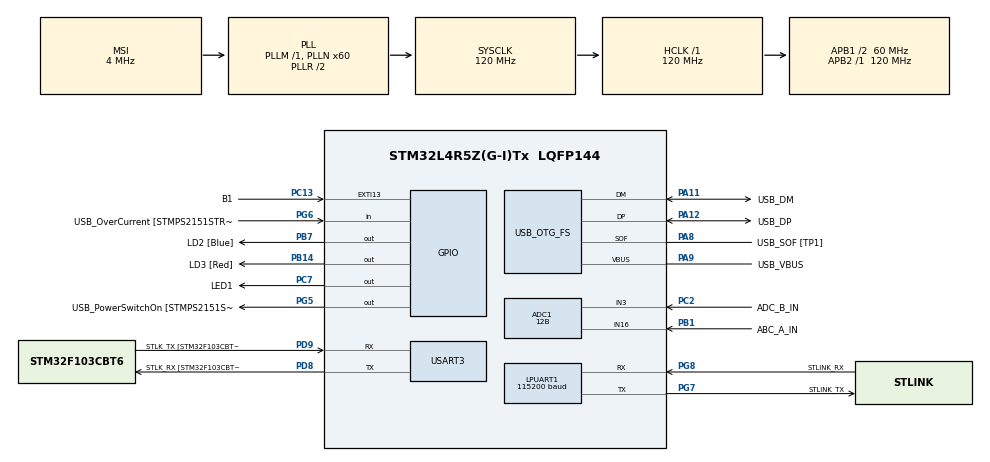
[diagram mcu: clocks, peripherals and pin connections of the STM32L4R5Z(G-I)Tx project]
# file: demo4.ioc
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ADC1.Channel-12\#ChannelRegularConversion=ADC_CHANNEL_3
ADC1.Channel-13\#ChannelRegularConversion=ADC_CHANNEL_16
ADC1.ClockPrescaler=ADC_CLOCK_ASYNC_DIV4
ADC1.ContinuousConvMode=ENABLE
ADC1.DMAContinuousRequests=DISABLE
ADC1.DataAlign=ADC_DATAALIGN_RIGHT
ADC1.DiscontinuousConvMode=DISABLE
ADC1.EOCSelection=ADC_EOC_SINGLE_CONV
ADC1.EnableAnalogWatchDog1=false
ADC1.EnableAnalogWatchDog2=false
ADC1.EnableAnalogWatchDog3=false
ADC1.EnableInjectedConversion=DISABLE
ADC1.EnableRegularConversion=ENABLE
ADC1.ExternalTrigConv=ADC_SOFTWARE_START
ADC1.ExternalTrigConvEdge=ADC_EXTERNALTRIGCONVEDGE_NONE
ADC1.LowPowerAutoWait=DISABLE
ADC1.NbrOfConversion=2
ADC1.NbrOfConversionFlag=1
ADC1.OffsetNumber-12\#ChannelRegularConversion=ADC_OFFSET_NONE
ADC1.OffsetNumber-13\#ChannelRegularConversion=ADC_OFFSET_NONE
ADC1.Overrun=ADC_OVR_DATA_PRESERVED
ADC1.OversamplingMode=DISABLE
ADC1.Rank-12\#ChannelRegularConversion=1
ADC1.Rank-13\#ChannelRegularConversion=2
ADC1.Resolution=ADC_RESOLUTION_12B
ADC1.SamplingTime-12\#ChannelRegularConversion=ADC_SAMPLETIME_2CYCLES_5
ADC1.SamplingTime-13\#ChannelRegularConversion=ADC_SAMPLETIME_2CYCLES_5
ADC1.ScanConvMode=ADC_SCAN_ENABLE
ADC1.master=1
LPUART1.BaudRate=115200
LPUART1.WordLength=UART_WORDLENGTH_8B
Mcu.Family=STM32L4
Mcu.Name=STM32L4R5Z(G-I)Tx
Mcu.Package=LQFP144
NVIC.ADC1_IRQn=true\:5\:0\:true\:false\:true\:true
NVIC.EXTI15_10_IRQn=true\:6\:0\:true\:false\:true\:true
NVIC.PriorityGroup=NVIC_PRIORITYGROUP_4
PA10.GPIO_Label=USB_ID
PA10.Signal=USB_OTG_FS_ID
PA11.GPIO_Label=USB_DM
PA11.Mode=Device_Only
PA11.Signal=USB_OTG_FS_DM
PA12.GPIO_Label=USB_DP
PA12.Mode=Device_Only
PA12.Signal=USB_OTG_FS_DP
PA13\ (JTMS/SWDIO).GPIO_Label=TMS
PA13\ (JTMS/SWDIO).Mode=Serial_Wire
PA13\ (JTMS/SWDIO).Signal=SYS_JTMS-SWDIO
PA14\ (JTCK/SWCLK).GPIO_Label=TCK
PA14\ (JTCK/SWCLK).Mode=Serial_Wire
PA14\ (JTCK/SWCLK).Signal=SYS_JTCK-SWCLK
PA8.GPIO_Label=USB_SOF [TP1]
PA8.Mode=Activate_SOF_FS
PA8.Signal=USB_OTG_FS_SOF
PA9.GPIO_Label=USB_VBUS
PA9.Mode=Activate_VBUS
PA9.Signal=USB_OTG_FS_VBUS
PB1.GPIO_Label=ABC_A_IN
PB1.Signal=ADCx_IN16
PB14.GPIO_Label=LD3 [Red]
PB14.Signal=GPIO_Output
PB3\ (JTDO/TRACESWO).GPIO_Label=SWO
PB3\ (JTDO/TRACESWO).Signal=SYS_JTDO-SWO
PB7.GPIO_Label=LD2 [Blue]
PB7.Signal=GPIO_Output
PC13.GPIO_Label=B1
PC13.Signal=GPXTI13
PC14-OSC32_IN\ (PC14).Mode=LSE-External-Oscillator
PC14-OSC32_IN\ (PC14).Signal=RCC_OSC32_IN
PC15-OSC32_OUT\ (PC15).Mode=LSE-External-Oscillator
PC15-OSC32_OUT\ (PC15).Signal=RCC_OSC32_OUT
PC2.GPIO_Label=ADC_B_IN
PC2.Signal=ADCx_IN3
PC7.GPIO_Label=LED1
PC7.Signal=GPIO_Output
PD8.GPIO_Label=STLK_RX [STM32F103CBT6_PA3]
PD8.Mode=Asynchronous
PD8.Signal=USART3_TX
PD9.GPIO_Label=STLK_TX [STM32F103CBT6_PA2]
PD9.Mode=Asynchronous
PD9.Signal=USART3_RX
PG5.GPIO_Label=USB_PowerSwitchOn [STMPS2151STR_EN]
PG5.Signal=GPIO_Output
PG6.GPIO_Label=USB_OverCurrent [STMPS2151STR_FAULT]
PG6.Signal=GPIO_Input
PG7.GPIO_Label=STLINK_TX
PG7.Mode=Asynchronous
PG7.Signal=LPUART1_TX
PG8.GPIO_Label=STLINK_RX
PG8.Mode=Asynchronous
PG8.Signal=LPUART1_RX
PH0-OSC_IN\ (PH0).Mode=HSE-External-Clock-Source
PH0-OSC_IN\ (PH0).Signal=RCC_OSC_IN
PH1-OSC_OUT\ (PH1).Signal=RCC_OSC_OUT
ProjectManager.HeapSize=0x200
ProjectManager.StackSize=0x400
ProjectManager.TargetToolchain=TrueSTUDIO
RCC.48MHZClocksFreq_Value=24000000
RCC.ADCFreq_Value=48000000
RCC.AHBFreq_Value=120000000
RCC.APB1CLKDivider=RCC_HCLK_DIV2
RCC.APB1Freq_Value=60000000
RCC.APB1TimFreq_Value=120000000
RCC.APB2Freq_Value=120000000
RCC.APB2TimFreq_Value=120000000
RCC.CortexFreq_Value=120000000
RCC.HCLKFreq_Value=120000000
RCC.HSE_VALUE=8000000
RCC.HSI48_VALUE=48000000
RCC.HSI_VALUE=16000000
RCC.MSI_VALUE=4000000
RCC.PLLMUL=RCC_PLL_MUL9
RCC.PLLN=60
RCC.PLLSAI1N=24
RCC.PRESCALERUSB=RCC_USBCLKSOURCE_PLL_DIV1_5
RCC.SYSCLKFreq_VALUE=120000000
RCC.SYSCLKSource=RCC_SYSCLKSOURCE_PLLCLK
RCC.SYSCLKSourceVirtual=RCC_SYSCLKSOURCE_PLLCLK
RCC.USBFreq_Value=48000000
RCC.VCOOutputFreq_Value=240000000
SH.ADCx_IN16.0=ADC1_IN16,IN16-Single-Ended
SH.ADCx_IN3.0=ADC1_IN3,IN3-Single-Ended
USART3.VirtualMode-Asynchronous=VM_ASYNC
USB_OTG_FS.VirtualMode=Device_Only
board=NUCLEO-L4R5ZI

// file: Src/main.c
/**
  ******************************************************************************
  * @file           : main.c
  * @brief          : Main program body
  ******************************************************************************
  ** This notice applies to any and all portions of this file
  * that are not between comment pairs USER CODE BEGIN and
  * USER CODE END. Other portions of this file, whether
  * inserted by the user or by software development tools
  * are owned by their respective copyright owners.
  *
  * COPYRIGHT(c) 2018 STMicroelectronics
  *
  * Redistribution and use in source and binary forms, with or without modification,
  * are permitted provided that the following conditions are met:
  *   1. Redistributions of source code must retain the above copyright notice,
  *      this list of conditions and the following disclaimer.
  *   2. Redistributions in binary form must reproduce the above copyright notice,
  *      this list of conditions and the following disclaimer in the documentation
  *      and/or other materials provided with the distribution.
  *   3. Neither the name of STMicroelectronics nor the names of its contributors
  *      may be used to endorse or promote products derived from this software
  *      without specific prior written permission.
  *
  * THIS SOFTWARE IS PROVIDED BY THE COPYRIGHT HOLDERS AND CONTRIBUTORS "AS IS"
  * AND ANY EXPRESS OR IMPLIED WARRANTIES, INCLUDING, BUT NOT LIMITED TO, THE
  * IMPLIED WARRANTIES OF MERCHANTABILITY AND FITNESS FOR A PARTICULAR PURPOSE ARE
  * DISCLAIMED. IN NO EVENT SHALL THE COPYRIGHT HOLDER OR CONTRIBUTORS BE LIABLE
  * FOR ANY DIRECT, INDIRECT, INCIDENTAL, SPECIAL, EXEMPLARY, OR CONSEQUENTIAL
  * DAMAGES (INCLUDING, BUT NOT LIMITED TO, PROCUREMENT OF SUBSTITUTE GOODS OR
  * SERVICES; LOSS OF USE, DATA, OR PROFITS; OR BUSINESS INTERRUPTION) HOWEVER
  * CAUSED AND ON ANY THEORY OF LIABILITY, WHETHER IN CONTRACT, STRICT LIABILITY,
  * OR TORT (INCLUDING NEGLIGENCE OR OTHERWISE) ARISING IN ANY WAY OUT OF THE USE
  * OF THIS SOFTWARE, EVEN IF ADVISED OF THE POSSIBILITY OF SUCH DAMAGE.
  *
  ******************************************************************************
  */
#include "main.h"
#include "stm32l4xx_hal.h"

ADC_HandleTypeDef hadc1;

UART_HandleTypeDef hlpuart1;
UART_HandleTypeDef huart3;

PCD_HandleTypeDef hpcd_USB_OTG_FS;

/* USER CODE BEGIN PV */
/* Private variables ---------------------------------------------------------*/

/* USER CODE END PV */

void SystemClock_Config(void);
static void MX_GPIO_Init(void);
static void MX_LPUART1_UART_Init(void);
static void MX_USART3_UART_Init(void);
static void MX_USB_OTG_FS_PCD_Init(void);
static void MX_ADC1_Init(void);

/* USER CODE BEGIN PFP */
/* Private function prototypes -----------------------------------------------*/
static void logInit(void);
static void logProcess(void);
/* USER CODE END PFP */

/* USER CODE BEGIN 0 */
uint8_t MODE_SELECTION = 0;
/* USER CODE END 0 */

int main(void)
{

  /* MCU Configuration----------------------------------------------------------*/

  /* Reset of all peripherals, Initializes the Flash interface and the Systick. */
  HAL_Init();

  /* Configure the system clock */
  SystemClock_Config();

  /* Initialize all configured peripherals */
  MX_GPIO_Init();
  MX_LPUART1_UART_Init();
  MX_USART3_UART_Init();
  MX_USB_OTG_FS_PCD_Init();
  MX_ADC1_Init();
  /* USER CODE BEGIN 2 */
  logInit();
  /* USER CODE END 2 */

  /* Infinite loop */
  while (1)
  {

  /* USER CODE BEGIN 3 */
#if 1
	  if (MODE_SELECTION == 0) {
		  logProcess();
	  }
	  else
	  {

	  }
#else
      //Send message to UART port
      printf("\n\rHelloWorld %d", count++);
	  if (MODE_SELECTION == 0) {
		  /* Toggle LEDs -Use the HAL functions from stm32l4xx_hal_gpio.c file */
		  HAL_GPIO_TogglePin(GPIOC, GPIO_PIN_7); //LD1 (green) –PC7
		  HAL_Delay(100); //100ms
	  } else if (MODE_SELECTION == 1) {
		  /* Turn OFF the LEDs -Use the HAL functions from stm32l4xx_hal_gpio.c file */
		  HAL_GPIO_WritePin(GPIOC, GPIO_PIN_7, GPIO_PIN_RESET); //Turn off LD1 (green)
		  HAL_Delay(100); //100ms
	  } else if (MODE_SELECTION == 2) {
		  /* Turn ON the LED -Use the HAL functions from stm32l4xx_hal_gpio.c file */
		  HAL_GPIO_WritePin(GPIOC, GPIO_PIN_7, GPIO_PIN_SET);//LD1 (green) –PC7
		  HAL_Delay(1000);//1secs
	  }
#endif
  }
  /* USER CODE END 3 */

}

void SystemClock_Config(void)
{

  RCC_OscInitTypeDef RCC_OscInitStruct;
  RCC_ClkInitTypeDef RCC_ClkInitStruct;
  RCC_PeriphCLKInitTypeDef PeriphClkInit;

    /**Configure the main internal regulator output voltage
    */
  if (HAL_PWREx_ControlVoltageScaling(PWR_REGULATOR_VOLTAGE_SCALE1_BOOST) != HAL_OK)
  {
    _Error_Handler(__FILE__, __LINE__);
  }

    /**Configure LSE Drive Capability
    */
  HAL_PWR_EnableBkUpAccess();

  __HAL_RCC_LSEDRIVE_CONFIG(RCC_LSEDRIVE_LOW);

    /**Initializes the CPU, AHB and APB busses clocks
    */
  RCC_OscInitStruct.OscillatorType = RCC_OSCILLATORTYPE_LSE|RCC_OSCILLATORTYPE_MSI;
  RCC_OscInitStruct.LSEState = RCC_LSE_ON;
  RCC_OscInitStruct.MSIState = RCC_MSI_ON;
  RCC_OscInitStruct.MSICalibrationValue = 0;
  RCC_OscInitStruct.MSIClockRange = RCC_MSIRANGE_6;
  RCC_OscInitStruct.PLL.PLLState = RCC_PLL_ON;
  RCC_OscInitStruct.PLL.PLLSource = RCC_PLLSOURCE_MSI;
  RCC_OscInitStruct.PLL.PLLM = 1;
  RCC_OscInitStruct.PLL.PLLN = 60;
  RCC_OscInitStruct.PLL.PLLP = RCC_PLLP_DIV2;
  RCC_OscInitStruct.PLL.PLLQ = RCC_PLLQ_DIV2;
  RCC_OscInitStruct.PLL.PLLR = RCC_PLLR_DIV2;
  if (HAL_RCC_OscConfig(&RCC_OscInitStruct) != HAL_OK)
  {
    _Error_Handler(__FILE__, __LINE__);
  }

    /**Initializes the CPU, AHB and APB busses clocks
    */
  RCC_ClkInitStruct.ClockType = RCC_CLOCKTYPE_HCLK|RCC_CLOCKTYPE_SYSCLK
                              |RCC_CLOCKTYPE_PCLK1|RCC_CLOCKTYPE_PCLK2;
  RCC_ClkInitStruct.SYSCLKSource = RCC_SYSCLKSOURCE_PLLCLK;
  RCC_ClkInitStruct.AHBCLKDivider = RCC_SYSCLK_DIV1;
  RCC_ClkInitStruct.APB1CLKDivider = RCC_HCLK_DIV2;
  RCC_ClkInitStruct.APB2CLKDivider = RCC_HCLK_DIV1;

  if (HAL_RCC_ClockConfig(&RCC_ClkInitStruct, FLASH_LATENCY_5) != HAL_OK)
  {
    _Error_Handler(__FILE__, __LINE__);
  }

  PeriphClkInit.PeriphClockSelection = RCC_PERIPHCLK_USART3|RCC_PERIPHCLK_LPUART1
                              |RCC_PERIPHCLK_USB|RCC_PERIPHCLK_ADC;
  PeriphClkInit.Usart3ClockSelection = RCC_USART3CLKSOURCE_PCLK1;
  PeriphClkInit.Lpuart1ClockSelection = RCC_LPUART1CLKSOURCE_PCLK1;
  PeriphClkInit.AdcClockSelection = RCC_ADCCLKSOURCE_PLLSAI1;
  PeriphClkInit.UsbClockSelection = RCC_USBCLKSOURCE_PLLSAI1;
  PeriphClkInit.PLLSAI1.PLLSAI1Source = RCC_PLLSOURCE_MSI;
  PeriphClkInit.PLLSAI1.PLLSAI1M = 1;
  PeriphClkInit.PLLSAI1.PLLSAI1N = 24;
  PeriphClkInit.PLLSAI1.PLLSAI1P = RCC_PLLP_DIV2;
  PeriphClkInit.PLLSAI1.PLLSAI1Q = RCC_PLLQ_DIV2;
  PeriphClkInit.PLLSAI1.PLLSAI1R = RCC_PLLR_DIV2;
  PeriphClkInit.PLLSAI1.PLLSAI1ClockOut = RCC_PLLSAI1_48M2CLK|RCC_PLLSAI1_ADC1CLK;
  if (HAL_RCCEx_PeriphCLKConfig(&PeriphClkInit) != HAL_OK)
  {
    _Error_Handler(__FILE__, __LINE__);
  }

    /**Configure the Systick interrupt time
    */
  HAL_SYSTICK_Config(HAL_RCC_GetHCLKFreq()/1000);

    /**Configure the Systick
    */
  HAL_SYSTICK_CLKSourceConfig(SYSTICK_CLKSOURCE_HCLK);

    /**Enable MSI Auto calibration
    */
  HAL_RCCEx_EnableMSIPLLMode();

  /* SysTick_IRQn interrupt configuration */
  HAL_NVIC_SetPriority(SysTick_IRQn, 0, 0);
}

/* ADC1 init function */
static void MX_ADC1_Init(void)
{

  ADC_ChannelConfTypeDef sConfig;

    /**Common config
    */
  hadc1.Instance = ADC1;
  hadc1.Init.ClockPrescaler = ADC_CLOCK_ASYNC_DIV4;
  hadc1.Init.Resolution = ADC_RESOLUTION_12B;
  hadc1.Init.DataAlign = ADC_DATAALIGN_RIGHT;
  hadc1.Init.ScanConvMode = ADC_SCAN_ENABLE;
  hadc1.Init.EOCSelection = ADC_EOC_SINGLE_CONV;
  hadc1.Init.LowPowerAutoWait = DISABLE;
  hadc1.Init.ContinuousConvMode = ENABLE;
  hadc1.Init.NbrOfConversion = 2;
  hadc1.Init.DiscontinuousConvMode = DISABLE;
  hadc1.Init.NbrOfDiscConversion = 1;
  hadc1.Init.ExternalTrigConv = ADC_SOFTWARE_START;
  hadc1.Init.ExternalTrigConvEdge = ADC_EXTERNALTRIGCONVEDGE_NONE;
  hadc1.Init.DMAContinuousRequests = DISABLE;
  hadc1.Init.Overrun = ADC_OVR_DATA_PRESERVED;
  hadc1.Init.OversamplingMode = DISABLE;
  if (HAL_ADC_Init(&hadc1) != HAL_OK)
  {
    _Error_Handler(__FILE__, __LINE__);
  }

    /**Configure Regular Channel
    */
  sConfig.Channel = ADC_CHANNEL_3;
  sConfig.Rank = ADC_REGULAR_RANK_1;
  sConfig.SamplingTime = ADC_SAMPLETIME_2CYCLES_5;
  sConfig.SingleDiff = ADC_SINGLE_ENDED;
  sConfig.OffsetNumber = ADC_OFFSET_NONE;
  sConfig.Offset = 0;
  if (HAL_ADC_ConfigChannel(&hadc1, &sConfig) != HAL_OK)
  {
    _Error_Handler(__FILE__, __LINE__);
  }

    /**Configure Regular Channel
    */
  sConfig.Channel = ADC_CHANNEL_16;
  sConfig.Rank = ADC_REGULAR_RANK_2;
  if (HAL_ADC_ConfigChannel(&hadc1, &sConfig) != HAL_OK)
  {
    _Error_Handler(__FILE__, __LINE__);
  }

}

/* LPUART1 init function */
static void MX_LPUART1_UART_Init(void)
{

  hlpuart1.Instance = LPUART1;
  hlpuart1.Init.BaudRate = 115200;
  hlpuart1.Init.WordLength = UART_WORDLENGTH_8B;
  hlpuart1.Init.StopBits = UART_STOPBITS_1;
  hlpuart1.Init.Parity = UART_PARITY_NONE;
  hlpuart1.Init.Mode = UART_MODE_TX_RX;
  hlpuart1.Init.HwFlowCtl = UART_HWCONTROL_NONE;
  hlpuart1.Init.OneBitSampling = UART_ONE_BIT_SAMPLE_DISABLE;
  hlpuart1.Init.ClockPrescaler = UART_PRESCALER_DIV1;
  hlpuart1.AdvancedInit.AdvFeatureInit = UART_ADVFEATURE_NO_INIT;
  hlpuart1.FifoMode = UART_FIFOMODE_DISABLE;
  if (HAL_UART_Init(&hlpuart1) != HAL_OK)
  {
    _Error_Handler(__FILE__, __LINE__);
  }

  if (HAL_UARTEx_SetTxFifoThreshold(&hlpuart1, UART_TXFIFO_THRESHOLD_1_8) != HAL_OK)
  {
    _Error_Handler(__FILE__, __LINE__);
  }

  if (HAL_UARTEx_SetRxFifoThreshold(&hlpuart1, UART_RXFIFO_THRESHOLD_1_8) != HAL_OK)
  {
    _Error_Handler(__FILE__, __LINE__);
  }

}

/* USART3 init function */
static void MX_USART3_UART_Init(void)
{

  huart3.Instance = USART3;
  huart3.Init.BaudRate = 115200;
  huart3.Init.WordLength = UART_WORDLENGTH_7B;
  huart3.Init.StopBits = UART_STOPBITS_1;
  huart3.Init.Parity = UART_PARITY_NONE;
  huart3.Init.Mode = UART_MODE_TX_RX;
  huart3.Init.HwFlowCtl = UART_HWCONTROL_NONE;
  huart3.Init.OverSampling = UART_OVERSAMPLING_16;
  huart3.Init.OneBitSampling = UART_ONE_BIT_SAMPLE_DISABLE;
  huart3.Init.ClockPrescaler = UART_PRESCALER_DIV1;
  huart3.AdvancedInit.AdvFeatureInit = UART_ADVFEATURE_NO_INIT;
  if (HAL_UART_Init(&huart3) != HAL_OK)
  {
    _Error_Handler(__FILE__, __LINE__);
  }

  if (HAL_UARTEx_SetTxFifoThreshold(&huart3, UART_TXFIFO_THRESHOLD_1_8) != HAL_OK)
  {
    _Error_Handler(__FILE__, __LINE__);
  }

  if (HAL_UARTEx_SetRxFifoThreshold(&huart3, UART_RXFIFO_THRESHOLD_1_8) != HAL_OK)
  {
    _Error_Handler(__FILE__, __LINE__);
  }

  if (HAL_UARTEx_DisableFifoMode(&huart3) != HAL_OK)
  {
    _Error_Handler(__FILE__, __LINE__);
  }

}

/* USB_OTG_FS init function */
static void MX_USB_OTG_FS_PCD_Init(void)
{

  hpcd_USB_OTG_FS.Instance = USB_OTG_FS;
  hpcd_USB_OTG_FS.Init.dev_endpoints = 6;
  hpcd_USB_OTG_FS.Init.ep0_mps = DEP0CTL_MPS_64;
  hpcd_USB_OTG_FS.Init.phy_itface = PCD_PHY_EMBEDDED;
  hpcd_USB_OTG_FS.Init.Sof_enable = ENABLE;
  hpcd_USB_OTG_FS.Init.low_power_enable = DISABLE;
  hpcd_USB_OTG_FS.Init.lpm_enable = DISABLE;
  hpcd_USB_OTG_FS.Init.battery_charging_enable = ENABLE;
  hpcd_USB_OTG_FS.Init.use_dedicated_ep1 = DISABLE;
  hpcd_USB_OTG_FS.Init.vbus_sensing_enable = ENABLE;
  if (HAL_PCD_Init(&hpcd_USB_OTG_FS) != HAL_OK)
  {
    _Error_Handler(__FILE__, __LINE__);
  }

}

/** Configure pins as
        * Analog
        * Input
        * Output
        * EVENT_OUT
        * EXTI
*/
static void MX_GPIO_Init(void)
{

  GPIO_InitTypeDef GPIO_InitStruct;

  /* GPIO Ports Clock Enable */
  __HAL_RCC_GPIOC_CLK_ENABLE();
  __HAL_RCC_GPIOH_CLK_ENABLE();
  __HAL_RCC_GPIOB_CLK_ENABLE();
  __HAL_RCC_GPIOD_CLK_ENABLE();
  __HAL_RCC_GPIOG_CLK_ENABLE();
  HAL_PWREx_EnableVddIO2();
  __HAL_RCC_GPIOA_CLK_ENABLE();

  /*Configure GPIO pin Output Level */
  HAL_GPIO_WritePin(GPIOB, LD3_Pin|LD2_Pin, GPIO_PIN_RESET);

  /*Configure GPIO pin Output Level */
  HAL_GPIO_WritePin(USB_PowerSwitchOn_GPIO_Port, USB_PowerSwitchOn_Pin, GPIO_PIN_RESET);

  /*Configure GPIO pin Output Level */
  HAL_GPIO_WritePin(LED1_GPIO_Port, LED1_Pin, GPIO_PIN_RESET);

  /*Configure GPIO pin : B1_Pin */
  GPIO_InitStruct.Pin = B1_Pin;
  GPIO_InitStruct.Mode = GPIO_MODE_IT_RISING;
  GPIO_InitStruct.Pull = GPIO_NOPULL;
  HAL_GPIO_Init(B1_GPIO_Port, &GPIO_InitStruct);

  /*Configure GPIO pins : LD3_Pin LD2_Pin */
  GPIO_InitStruct.Pin = LD3_Pin|LD2_Pin;
  GPIO_InitStruct.Mode = GPIO_MODE_OUTPUT_PP;
  GPIO_InitStruct.Pull = GPIO_NOPULL;
  GPIO_InitStruct.Speed = GPIO_SPEED_FREQ_LOW;
  HAL_GPIO_Init(GPIOB, &GPIO_InitStruct);

  /*Configure GPIO pin : USB_PowerSwitchOn_Pin */
  GPIO_InitStruct.Pin = USB_PowerSwitchOn_Pin;
  GPIO_InitStruct.Mode = GPIO_MODE_OUTPUT_PP;
  GPIO_InitStruct.Pull = GPIO_NOPULL;
  GPIO_InitStruct.Speed = GPIO_SPEED_FREQ_LOW;
  HAL_GPIO_Init(USB_PowerSwitchOn_GPIO_Port, &GPIO_InitStruct);

  /*Configure GPIO pin : USB_OverCurrent_Pin */
  GPIO_InitStruct.Pin = USB_OverCurrent_Pin;
  GPIO_InitStruct.Mode = GPIO_MODE_INPUT;
  GPIO_InitStruct.Pull = GPIO_NOPULL;
  HAL_GPIO_Init(USB_OverCurrent_GPIO_Port, &GPIO_InitStruct);

  /*Configure GPIO pin : LED1_Pin */
  GPIO_InitStruct.Pin = LED1_Pin;
  GPIO_InitStruct.Mode = GPIO_MODE_OUTPUT_PP;
  GPIO_InitStruct.Pull = GPIO_NOPULL;
  GPIO_InitStruct.Speed = GPIO_SPEED_FREQ_LOW;
  HAL_GPIO_Init(LED1_GPIO_Port, &GPIO_InitStruct);

  /* EXTI interrupt init*/
  HAL_NVIC_SetPriority(EXTI15_10_IRQn, 6, 0);
  HAL_NVIC_EnableIRQ(EXTI15_10_IRQn);

}

/* USER CODE BEGIN 4 */
enum {
	ADC_CH_A = 0,	/*CON10 Pin7 channel 16*/
	ADC_CH_B,		/*CON10 Pin9 channel 3*/
}adc_idx = ADC_CH_A;
static uint32_t count = 0;
/*
 * ADC_A_IN Channal 16
 * ADC_B_IN Channal 3*/
#define SAMPLING_NUM	64
uint8_t first_round = 0;
//uint32_t raw_a[SAMPLING_NUM];
//uint32_t raw_b[SAMPLING_NUM];
uint32_t raw_t[2] = {0,0};
uint32_t raw[2][SAMPLING_NUM] = {0};
uint32_t raw_sum[2] = {0,0};
uint32_t raw_avg[2] = {0,0};

uint16_t sampling_idx = 0;
void HAL_ADC_ConvCpltCallback(ADC_HandleTypeDef* hadc)
{
	if(__HAL_ADC_GET_FLAG(hadc, ADC_FLAG_EOC))
	{
		//raw[adc_idx][sampling_idx] = HAL_ADC_GetValue(hadc);
		raw_t[adc_idx] = HAL_ADC_GetValue(hadc);
		adc_idx++;
	}
	if(__HAL_ADC_GET_FLAG(hadc, ADC_FLAG_EOS))
	{
		adc_idx = 0;
	}
	//raw[count%2] = HAL_ADC_GetValue(hadc);
}
static void logInit(void)
{
//	HAL_ADC_Start(&g_AdcHandle);
	count=0;
	HAL_ADC_Start_IT(&hadc1);
}

static void logProcess(void)
{
	static uint32_t log_msTick = 0;
	static uint32_t sampling_msTick = 0;

	static uint16_t raw_idx = 0;
	static uint16_t max_sampling = 0;
	/*average*/
#if 1
	if(HAL_GetTick()-sampling_msTick > 10)
	{
		raw_sum[0] = 0;
		raw_sum[1] = 0;

		uint16_t max_sampling = 0;

		raw[0][raw_idx] = raw_t[0];
		raw[1][raw_idx] = raw_t[1];
		raw_idx++;
		if(raw_idx == SAMPLING_NUM)
		{
			raw_idx=0;
			first_round = 1;
		}
		sampling_msTick = HAL_GetTick();
	}
#endif

	//Send message to UART port
	if(HAL_GetTick()-log_msTick > 1000)
	{
		if(first_round == 0)
		{
			max_sampling = raw_idx;
		}
		else
		{
			max_sampling = SAMPLING_NUM;
		}
		for(uint16_t i = 0;i<2;i++)
		{
			for(uint16_t j = 0;j<max_sampling;j++)
			{
				raw_sum[i] += raw[i][j];
			}
		}
		raw_avg[0] = raw_sum[0]/max_sampling;
		raw_avg[1] = raw_sum[1]/max_sampling;

		printf("\n%04d,%04d,%04d", count, raw_avg[0], raw_avg[1]);

		//printf("\n%04d,%04d,%04d", count, raw_t[0], raw_t[1]);
		/*switch channel*/
		{
			ADC_ChannelConfTypeDef sConfig;

			/**Configure Regular Channel
			*/
			count=(count+1)%10000;
//			if(count%0)
//				sConfig.Channel = ADC_CHANNEL_3;	/*IN3 PC2 ADC_B_IN*/
//			else
//				sConfig.Channel = ADC_CHANNEL_16;	/*IN3 PB1 ADC_A_IN*/
//			sConfig.Rank = ADC_REGULAR_RANK_1;
//			sConfig.SamplingTime = ADC_SAMPLETIME_2CYCLES_5;
//			sConfig.SingleDiff = ADC_SINGLE_ENDED;
//			sConfig.OffsetNumber = ADC_OFFSET_NONE;
//			sConfig.Offset = 0;
//			if (HAL_ADC_ConfigChannel(&hadc1, &sConfig) != HAL_OK)
//			{
//				_Error_Handler(__FILE__, __LINE__);
//			}
			//HAL_ADC_Start_IT(&hadc1);
		}
		log_msTick = HAL_GetTick();
	}
}
int _write(int file, char *ptr, int len)
{
	HAL_UART_Transmit(&hlpuart1,(uint8_t *)ptr,len,HAL_MAX_DELAY);
	return len;
}

/**
* @brief EXTI line detection callback. The function will be call by EXTI15_10_IRQHandler in “stm32l4xx_it.c” .
* @paramGPIO_Pin: Specifies the pins connected EXTI line
* @retvalNone
*/
void HAL_GPIO_EXTI_Callback(uint16_t GPIO_Pin)
{
	if(GPIO_Pin== GPIO_PIN_13)
	{
		MODE_SELECTION++;
		if(MODE_SELECTION > 2) MODE_SELECTION=0;
		/* Debounce-wait until the button is released . Read the GPIO to get the state. Refer to the schematics. */
		/* -Use the HAL functions from stm32l4xx_hal_gpio.c file */
		while(HAL_GPIO_ReadPin(GPIOC, GPIO_PIN_13) != GPIO_PIN_RESET);//Blue pushbutton –PC13
	}
}
/* USER CODE END 4 */

void _Error_Handler(char *file, int line)
{
  while(1)
  {
  }
}

/************************ (C) COPYRIGHT STMicroelectronics *****END OF FILE****/
